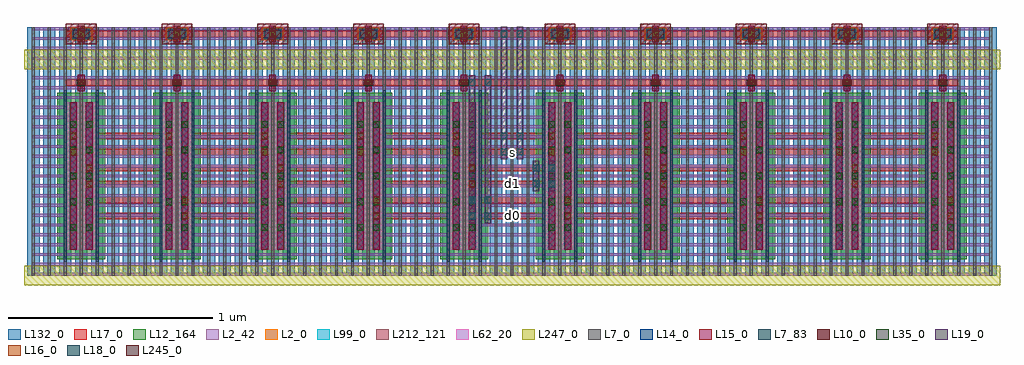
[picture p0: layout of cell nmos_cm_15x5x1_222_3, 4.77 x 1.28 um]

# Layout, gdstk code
import gdstk
lib = gdstk.Library(unit=1e-6, precision=1e-12)
def R(c, l, rs):  # rectangles x0, y0, x1, y1
    for r in rs: c.add(gdstk.rectangle(r[:2], r[2:], *l))
def A(c, l, x, y, w, h, nx, ny, dx, dy):  # array of equal rectangles
    R(c, l, [(x+i*dx, y+j*dy, x+i*dx+w, y+j*dy+h) for i in range(nx) for j in range(ny)])
L2_0 = (2, 0)
L2_42 = (2, 42)
L7_0 = (7, 0)
L7_83 = (7, 83)
L10_0 = (10, 0)
L12_164 = (12, 164)
L14_0 = (14, 0)
L15_0 = (15, 0)
L16_0 = (16, 0)
L17_0 = (17, 0)
L18_0 = (18, 0)
L19_0 = (19, 0)
L35_0 = (35, 0)
L62_20 = (62, 20)
L99_0 = (99, 0)
L132_0 = (132, 0)
L212_121 = (212, 121)
L245_0 = (245, 0)
L247_0 = (247, 0)

nmos_cm_15x5x1_222_3 = lib.new_cell('nmos_cm_15x5x1_222_3')
A(nmos_cm_15x5x1_222_3, L2_0, 0.186, 0.127, 0.156, 0.72, 10, 1, 0.468, 0)
A(nmos_cm_15x5x1_222_3, L2_0, 0.209, 1.151, 0.11, 0.06, 10, 1, 0.468, 0)
A(nmos_cm_15x5x1_222_3, L2_42, 0.023, 0, 4.68, 0.014, 1, 26, 0, 0.048)
A(nmos_cm_15x5x1_222_3, L7_0, 0.023, 0, 0.014, 1.214, 61, 1, 0.078, 0)
R(nmos_cm_15x5x1_222_3, L7_83, [(0.179,0.067,0.193,0.907), (0.335,0.067,0.349,0.907), (0.647,0.067,0.661,0.907), (0.803,0.067,0.817,0.907), (1.115,0.067,1.129,0.907), (1.271,0.067,1.285,0.907), (1.583,0.067,1.597,0.907), (1.739,0.067,1.753,0.907), (2.051,0.067,2.065,0.907), (2.207,0.067,2.221,0.907), (2.519,0.067,2.533,0.907), (2.675,0.067,2.689,0.907), (2.987,0.067,3.001,0.907), (3.143,0.067,3.157,0.907), (3.455,0.067,3.469,0.907), (3.611,0.067,3.625,0.907), (3.923,0.067,3.937,0.907), (4.079,0.067,4.093,0.907), (4.391,0.067,4.405,0.907), (4.547,0.067,4.561,0.907)])
A(nmos_cm_15x5x1_222_3, L10_0, 0.189, 1.131, 0.15, 0.1, 10, 1, 0.468, 0)
A(nmos_cm_15x5x1_222_3, L12_164, 0.147, 0.079, 0.234, 0.816, 10, 1, 0.468, 0)
A(nmos_cm_15x5x1_222_3, L14_0, 0.224, 1.161, 0.08, 0.04, 10, 1, 0.468, 0)
R(nmos_cm_15x5x1_222_3, L14_0, [(0.208,0.127,0.242,0.847), (0.286,0.127,0.32,0.847), (0.676,0.127,0.71,0.847), (0.754,0.127,0.788,0.847), (1.144,0.127,1.178,0.847), (1.222,0.127,1.256,0.847), (1.612,0.127,1.646,0.847), (1.69,0.127,1.724,0.847), (2.08,0.127,2.114,0.847), (2.158,0.127,2.192,0.847), (2.548,0.127,2.582,0.847), (2.626,0.127,2.66,0.847), (3.016,0.127,3.05,0.847), (3.094,0.127,3.128,0.847), (3.484,0.127,3.518,0.847), (3.562,0.127,3.596,0.847), (3.952,0.127,3.986,0.847), (4.03,0.127,4.064,0.847), (4.42,0.127,4.454,0.847), (4.498,0.127,4.532,0.847)])
A(nmos_cm_15x5x1_222_3, L15_0, 0.248, 0.902, 0.032, 0.08, 10, 2, 0.468, 0.239)
R(nmos_cm_15x5x1_222_3, L15_0, [(0.209,0.127,0.241,0.847), (0.287,0.127,0.319,0.847), (0.677,0.127,0.709,0.847), (0.755,0.127,0.787,0.847), (1.145,0.127,1.177,0.847), (1.223,0.127,1.255,0.847), (1.613,0.127,1.645,0.847), (1.691,0.127,1.723,0.847), (2.081,0.127,2.113,0.847), (2.159,0.127,2.191,0.847), (2.549,0.127,2.581,0.847), (2.627,0.127,2.659,0.847), (3.017,0.127,3.049,0.847), (3.095,0.127,3.127,0.847), (3.485,0.127,3.517,0.847), (3.563,0.127,3.595,0.847), (3.953,0.127,3.985,0.847), (4.031,0.127,4.063,0.847), (4.421,0.127,4.453,0.847), (4.499,0.127,4.531,0.847)])
A(nmos_cm_15x5x1_222_3, L16_0, 0.755, 0.276, 0.032, 0.032, 5, 2, 0.936, 0.078)
A(nmos_cm_15x5x1_222_3, L16_0, 0.287, 0.432, 0.032, 0.032, 5, 2, 0.936, 0.078)
A(nmos_cm_15x5x1_222_3, L16_0, 0.209, 0.588, 0.032, 0.032, 10, 2, 0.468, 0.078)
A(nmos_cm_15x5x1_222_3, L16_0, 0.248, 0.927, 0.032, 0.032, 10, 2, 0.468, 0.238)
A(nmos_cm_15x5x1_222_3, L17_0, 0.189, 0.276, 0.15, 0.032, 10, 6, 0.468, 0.078)
A(nmos_cm_15x5x1_222_3, L17_0, 0.329, 0.276, 0.338, 0.032, 1, 6, 0, 0.078)
A(nmos_cm_15x5x1_222_3, L17_0, 0.189, 0.927, 0.15, 0.032, 10, 2, 0.468, 0.238)
R(nmos_cm_15x5x1_222_3, L17_0, [(0.797,0.276,1.135,0.308), (0.797,0.276,1.135,0.308), (1.265,0.276,1.603,0.308), (1.265,0.276,1.603,0.308), (1.265,0.276,1.603,0.308), (1.733,0.276,2.071,0.308), (1.733,0.276,2.071,0.308), (1.733,0.276,2.071,0.308), (1.733,0.276,2.071,0.308), (2.201,0.276,2.539,0.308), (2.201,0.276,2.539,0.308), (2.201,0.276,2.539,0.308), (2.201,0.276,2.539,0.308), (2.201,0.276,2.539,0.308), (2.669,0.276,3.007,0.308), (2.669,0.276,3.007,0.308), (2.669,0.276,3.007,0.308), (2.669,0.276,3.007,0.308), (2.669,0.276,3.007,0.308), (2.669,0.276,3.007,0.308), (3.137,0.276,3.475,0.308), (3.137,0.276,3.475,0.308), (3.137,0.276,3.475,0.308), (3.137,0.276,3.475,0.308), (3.137,0.276,3.475,0.308), (3.137,0.276,3.475,0.308), (3.137,0.276,3.475,0.308), (3.605,0.276,3.943,0.308), (3.605,0.276,3.943,0.308), (3.605,0.276,3.943,0.308), (3.605,0.276,3.943,0.308), (3.605,0.276,3.943,0.308), (3.605,0.276,3.943,0.308), (3.605,0.276,3.943,0.308), (3.605,0.276,3.943,0.308), (4.073,0.276,4.411,0.308), (4.073,0.276,4.411,0.308), (4.073,0.276,4.411,0.308), (4.073,0.276,4.411,0.308), (4.073,0.276,4.411,0.308), (4.073,0.276,4.411,0.308), (4.073,0.276,4.411,0.308), (4.073,0.276,4.411,0.308), (4.073,0.276,4.411,0.308), (0.797,0.354,1.135,0.386), (0.797,0.354,1.135,0.386), (1.265,0.354,1.603,0.386), (1.265,0.354,1.603,0.386), (1.265,0.354,1.603,0.386), (1.733,0.354,2.071,0.386), (1.733,0.354,2.071,0.386), (1.733,0.354,2.071,0.386), (1.733,0.354,2.071,0.386), (2.201,0.354,2.539,0.386), (2.201,0.354,2.539,0.386), (2.201,0.354,2.539,0.386), (2.201,0.354,2.539,0.386), (2.201,0.354,2.539,0.386), (2.669,0.354,3.007,0.386), (2.669,0.354,3.007,0.386), (2.669,0.354,3.007,0.386), (2.669,0.354,3.007,0.386), (2.669,0.354,3.007,0.386), (2.669,0.354,3.007,0.386), (3.137,0.354,3.475,0.386), (3.137,0.354,3.475,0.386), (3.137,0.354,3.475,0.386), (3.137,0.354,3.475,0.386), (3.137,0.354,3.475,0.386), (3.137,0.354,3.475,0.386), (3.137,0.354,3.475,0.386), (3.605,0.354,3.943,0.386), (3.605,0.354,3.943,0.386), (3.605,0.354,3.943,0.386), (3.605,0.354,3.943,0.386), (3.605,0.354,3.943,0.386), (3.605,0.354,3.943,0.386), (3.605,0.354,3.943,0.386), (3.605,0.354,3.943,0.386), (4.073,0.354,4.411,0.386), (4.073,0.354,4.411,0.386), (4.073,0.354,4.411,0.386), (4.073,0.354,4.411,0.386), (4.073,0.354,4.411,0.386), (4.073,0.354,4.411,0.386), (4.073,0.354,4.411,0.386), (4.073,0.354,4.411,0.386), (4.073,0.354,4.411,0.386), (0.797,0.432,1.135,0.464), (0.797,0.432,1.135,0.464), (1.265,0.432,1.603,0.464), (1.265,0.432,1.603,0.464), (1.265,0.432,1.603,0.464), (1.733,0.432,2.071,0.464), (1.733,0.432,2.071,0.464), (1.733,0.432,2.071,0.464), (1.733,0.432,2.071,0.464), (2.201,0.432,2.539,0.464), (2.201,0.432,2.539,0.464), (2.201,0.432,2.539,0.464), (2.201,0.432,2.539,0.464), (2.201,0.432,2.539,0.464), (2.669,0.432,3.007,0.464), (2.669,0.432,3.007,0.464), (2.669,0.432,3.007,0.464), (2.669,0.432,3.007,0.464), (2.669,0.432,3.007,0.464), (2.669,0.432,3.007,0.464), (3.137,0.432,3.475,0.464), (3.137,0.432,3.475,0.464), (3.137,0.432,3.475,0.464), (3.137,0.432,3.475,0.464), (3.137,0.432,3.475,0.464), (3.137,0.432,3.475,0.464), (3.137,0.432,3.475,0.464), (3.605,0.432,3.943,0.464), (3.605,0.432,3.943,0.464), (3.605,0.432,3.943,0.464), (3.605,0.432,3.943,0.464), (3.605,0.432,3.943,0.464), (3.605,0.432,3.943,0.464), (3.605,0.432,3.943,0.464), (3.605,0.432,3.943,0.464), (4.073,0.432,4.411,0.464), (4.073,0.432,4.411,0.464), (4.073,0.432,4.411,0.464), (4.073,0.432,4.411,0.464), (4.073,0.432,4.411,0.464), (4.073,0.432,4.411,0.464), (4.073,0.432,4.411,0.464), (4.073,0.432,4.411,0.464), (4.073,0.432,4.411,0.464), (0.797,0.51,1.135,0.542), (0.797,0.51,1.135,0.542), (1.265,0.51,1.603,0.542), (1.265,0.51,1.603,0.542), (1.265,0.51,1.603,0.542), (1.733,0.51,2.071,0.542), (1.733,0.51,2.071,0.542), (1.733,0.51,2.071,0.542), (1.733,0.51,2.071,0.542), (2.201,0.51,2.539,0.542), (2.201,0.51,2.539,0.542), (2.201,0.51,2.539,0.542), (2.201,0.51,2.539,0.542), (2.201,0.51,2.539,0.542), (2.669,0.51,3.007,0.542), (2.669,0.51,3.007,0.542), (2.669,0.51,3.007,0.542), (2.669,0.51,3.007,0.542), (2.669,0.51,3.007,0.542), (2.669,0.51,3.007,0.542), (3.137,0.51,3.475,0.542), (3.137,0.51,3.475,0.542), (3.137,0.51,3.475,0.542), (3.137,0.51,3.475,0.542), (3.137,0.51,3.475,0.542), (3.137,0.51,3.475,0.542), (3.137,0.51,3.475,0.542), (3.605,0.51,3.943,0.542), (3.605,0.51,3.943,0.542), (3.605,0.51,3.943,0.542), (3.605,0.51,3.943,0.542), (3.605,0.51,3.943,0.542), (3.605,0.51,3.943,0.542), (3.605,0.51,3.943,0.542), (3.605,0.51,3.943,0.542), (4.073,0.51,4.411,0.542), (4.073,0.51,4.411,0.542), (4.073,0.51,4.411,0.542), (4.073,0.51,4.411,0.542), (4.073,0.51,4.411,0.542), (4.073,0.51,4.411,0.542), (4.073,0.51,4.411,0.542), (4.073,0.51,4.411,0.542), (4.073,0.51,4.411,0.542), (0.797,0.588,1.135,0.62), (0.797,0.588,1.135,0.62), (1.265,0.588,1.603,0.62), (1.265,0.588,1.603,0.62), (1.265,0.588,1.603,0.62), (1.733,0.588,2.071,0.62), (1.733,0.588,2.071,0.62), (1.733,0.588,2.071,0.62), (1.733,0.588,2.071,0.62), (2.201,0.588,2.539,0.62), (2.201,0.588,2.539,0.62), (2.201,0.588,2.539,0.62), (2.201,0.588,2.539,0.62), (2.201,0.588,2.539,0.62), (2.669,0.588,3.007,0.62), (2.669,0.588,3.007,0.62), (2.669,0.588,3.007,0.62), (2.669,0.588,3.007,0.62), (2.669,0.588,3.007,0.62), (2.669,0.588,3.007,0.62), (3.137,0.588,3.475,0.62), (3.137,0.588,3.475,0.62), (3.137,0.588,3.475,0.62), (3.137,0.588,3.475,0.62), (3.137,0.588,3.475,0.62), (3.137,0.588,3.475,0.62), (3.137,0.588,3.475,0.62), (3.605,0.588,3.943,0.62), (3.605,0.588,3.943,0.62), (3.605,0.588,3.943,0.62), (3.605,0.588,3.943,0.62), (3.605,0.588,3.943,0.62), (3.605,0.588,3.943,0.62), (3.605,0.588,3.943,0.62), (3.605,0.588,3.943,0.62), (4.073,0.588,4.411,0.62), (4.073,0.588,4.411,0.62), (4.073,0.588,4.411,0.62), (4.073,0.588,4.411,0.62), (4.073,0.588,4.411,0.62), (4.073,0.588,4.411,0.62), (4.073,0.588,4.411,0.62), (4.073,0.588,4.411,0.62), (4.073,0.588,4.411,0.62), (0.797,0.666,1.135,0.698), (0.797,0.666,1.135,0.698), (1.265,0.666,1.603,0.698), (1.265,0.666,1.603,0.698), (1.265,0.666,1.603,0.698), (1.733,0.666,2.071,0.698), (1.733,0.666,2.071,0.698), (1.733,0.666,2.071,0.698), (1.733,0.666,2.071,0.698), (2.201,0.666,2.539,0.698), (2.201,0.666,2.539,0.698), (2.201,0.666,2.539,0.698), (2.201,0.666,2.539,0.698), (2.201,0.666,2.539,0.698), (2.669,0.666,3.007,0.698), (2.669,0.666,3.007,0.698), (2.669,0.666,3.007,0.698), (2.669,0.666,3.007,0.698), (2.669,0.666,3.007,0.698), (2.669,0.666,3.007,0.698), (3.137,0.666,3.475,0.698), (3.137,0.666,3.475,0.698), (3.137,0.666,3.475,0.698), (3.137,0.666,3.475,0.698), (3.137,0.666,3.475,0.698), (3.137,0.666,3.475,0.698), (3.137,0.666,3.475,0.698), (3.605,0.666,3.943,0.698), (3.605,0.666,3.943,0.698), (3.605,0.666,3.943,0.698), (3.605,0.666,3.943,0.698), (3.605,0.666,3.943,0.698), (3.605,0.666,3.943,0.698), (3.605,0.666,3.943,0.698), (3.605,0.666,3.943,0.698), (4.073,0.666,4.411,0.698), (4.073,0.666,4.411,0.698), (4.073,0.666,4.411,0.698), (4.073,0.666,4.411,0.698), (4.073,0.666,4.411,0.698), (4.073,0.666,4.411,0.698), (4.073,0.666,4.411,0.698), (4.073,0.666,4.411,0.698), (4.073,0.666,4.411,0.698), (0.329,0.927,0.667,0.959), (0.797,0.927,1.135,0.959), (0.797,0.927,1.135,0.959), (1.265,0.927,1.603,0.959), (1.265,0.927,1.603,0.959), (1.265,0.927,1.603,0.959), (1.733,0.927,2.071,0.959), (1.733,0.927,2.071,0.959), (1.733,0.927,2.071,0.959), (1.733,0.927,2.071,0.959), (2.201,0.927,2.539,0.959), (2.201,0.927,2.539,0.959), (2.201,0.927,2.539,0.959), (2.201,0.927,2.539,0.959), (2.201,0.927,2.539,0.959), (2.669,0.927,3.007,0.959), (2.669,0.927,3.007,0.959), (2.669,0.927,3.007,0.959), (2.669,0.927,3.007,0.959), (2.669,0.927,3.007,0.959), (2.669,0.927,3.007,0.959), (3.137,0.927,3.475,0.959), (3.137,0.927,3.475,0.959), (3.137,0.927,3.475,0.959), (3.137,0.927,3.475,0.959), (3.137,0.927,3.475,0.959), (3.137,0.927,3.475,0.959), (3.137,0.927,3.475,0.959), (3.605,0.927,3.943,0.959), (3.605,0.927,3.943,0.959), (3.605,0.927,3.943,0.959), (3.605,0.927,3.943,0.959), (3.605,0.927,3.943,0.959), (3.605,0.927,3.943,0.959), (3.605,0.927,3.943,0.959), (3.605,0.927,3.943,0.959), (4.073,0.927,4.411,0.959), (4.073,0.927,4.411,0.959), (4.073,0.927,4.411,0.959), (4.073,0.927,4.411,0.959), (4.073,0.927,4.411,0.959), (4.073,0.927,4.411,0.959), (4.073,0.927,4.411,0.959), (4.073,0.927,4.411,0.959), (4.073,0.927,4.411,0.959), (0.329,1.165,0.667,1.197), (0.797,1.165,1.135,1.197), (0.797,1.165,1.135,1.197), (1.265,1.165,1.603,1.197), (1.265,1.165,1.603,1.197), (1.265,1.165,1.603,1.197), (1.733,1.165,2.071,1.197), (1.733,1.165,2.071,1.197), (1.733,1.165,2.071,1.197), (1.733,1.165,2.071,1.197), (2.201,1.165,2.539,1.197), (2.201,1.165,2.539,1.197), (2.201,1.165,2.539,1.197), (2.201,1.165,2.539,1.197), (2.201,1.165,2.539,1.197), (2.669,1.165,3.007,1.197), (2.669,1.165,3.007,1.197), (2.669,1.165,3.007,1.197), (2.669,1.165,3.007,1.197), (2.669,1.165,3.007,1.197), (2.669,1.165,3.007,1.197), (3.137,1.165,3.475,1.197), (3.137,1.165,3.475,1.197), (3.137,1.165,3.475,1.197), (3.137,1.165,3.475,1.197), (3.137,1.165,3.475,1.197), (3.137,1.165,3.475,1.197), (3.137,1.165,3.475,1.197), (3.605,1.165,3.943,1.197), (3.605,1.165,3.943,1.197), (3.605,1.165,3.943,1.197), (3.605,1.165,3.943,1.197), (3.605,1.165,3.943,1.197), (3.605,1.165,3.943,1.197), (3.605,1.165,3.943,1.197), (3.605,1.165,3.943,1.197), (4.073,1.165,4.411,1.197), (4.073,1.165,4.411,1.197), (4.073,1.165,4.411,1.197), (4.073,1.165,4.411,1.197), (4.073,1.165,4.411,1.197), (4.073,1.165,4.411,1.197), (4.073,1.165,4.411,1.197), (4.073,1.165,4.411,1.197), (4.073,1.165,4.411,1.197)])
R(nmos_cm_15x5x1_222_3, L18_0, [(2.159,0.276,2.191,0.308), (2.237,0.276,2.269,0.308), (2.237,0.276,2.269,0.308), (2.159,0.354,2.191,0.386), (2.237,0.354,2.269,0.386), (2.237,0.354,2.269,0.386), (2.471,0.432,2.503,0.464), (2.471,0.432,2.503,0.464), (2.549,0.432,2.581,0.464), (2.471,0.51,2.503,0.542), (2.471,0.51,2.503,0.542), (2.549,0.51,2.581,0.542), (2.315,0.588,2.347,0.62), (2.315,0.588,2.347,0.62), (2.393,0.588,2.425,0.62), (2.393,0.588,2.425,0.62), (2.315,0.666,2.347,0.698), (2.315,0.666,2.347,0.698), (2.393,0.666,2.425,0.698), (2.393,0.666,2.425,0.698), (2.159,0.927,2.191,0.959), (2.237,0.927,2.269,0.959), (2.237,0.927,2.269,0.959), (2.315,1.165,2.347,1.197), (2.315,1.165,2.347,1.197), (2.393,1.165,2.425,1.197), (2.393,1.165,2.425,1.197)])
R(nmos_cm_15x5x1_222_3, L19_0, [(2.159,0.256,2.191,0.979), (2.237,0.256,2.269,0.979), (2.471,0.412,2.503,0.562), (2.549,0.412,2.581,0.562), (2.315,0.568,2.347,1.217), (2.393,0.568,2.425,1.217)])
A(nmos_cm_15x5x1_222_3, L35_0, 0.209, 0.219, 0.032, 0.032, 1, 5, 0, 0.126)
A(nmos_cm_15x5x1_222_3, L35_0, 0.287, 0.219, 0.032, 0.032, 1, 5, 0, 0.126)
A(nmos_cm_15x5x1_222_3, L35_0, 0.677, 0.219, 0.032, 0.032, 1, 5, 0, 0.126)
A(nmos_cm_15x5x1_222_3, L35_0, 0.755, 0.219, 0.032, 0.032, 1, 5, 0, 0.126)
A(nmos_cm_15x5x1_222_3, L35_0, 1.145, 0.219, 0.032, 0.032, 1, 5, 0, 0.126)
A(nmos_cm_15x5x1_222_3, L35_0, 1.223, 0.219, 0.032, 0.032, 1, 5, 0, 0.126)
A(nmos_cm_15x5x1_222_3, L35_0, 1.613, 0.219, 0.032, 0.032, 1, 5, 0, 0.126)
A(nmos_cm_15x5x1_222_3, L35_0, 1.691, 0.219, 0.032, 0.032, 1, 5, 0, 0.126)
A(nmos_cm_15x5x1_222_3, L35_0, 2.081, 0.219, 0.032, 0.032, 1, 5, 0, 0.126)
A(nmos_cm_15x5x1_222_3, L35_0, 2.159, 0.219, 0.032, 0.032, 1, 5, 0, 0.126)
A(nmos_cm_15x5x1_222_3, L35_0, 2.549, 0.219, 0.032, 0.032, 1, 5, 0, 0.126)
A(nmos_cm_15x5x1_222_3, L35_0, 2.627, 0.219, 0.032, 0.032, 1, 5, 0, 0.126)
A(nmos_cm_15x5x1_222_3, L35_0, 3.017, 0.219, 0.032, 0.032, 1, 5, 0, 0.126)
A(nmos_cm_15x5x1_222_3, L35_0, 3.095, 0.219, 0.032, 0.032, 1, 5, 0, 0.126)
A(nmos_cm_15x5x1_222_3, L35_0, 3.485, 0.219, 0.032, 0.032, 1, 5, 0, 0.126)
A(nmos_cm_15x5x1_222_3, L35_0, 3.563, 0.219, 0.032, 0.032, 1, 5, 0, 0.126)
A(nmos_cm_15x5x1_222_3, L35_0, 3.953, 0.219, 0.032, 0.032, 1, 5, 0, 0.126)
A(nmos_cm_15x5x1_222_3, L35_0, 4.031, 0.219, 0.032, 0.032, 1, 5, 0, 0.126)
A(nmos_cm_15x5x1_222_3, L35_0, 4.421, 0.219, 0.032, 0.032, 1, 5, 0, 0.126)
A(nmos_cm_15x5x1_222_3, L35_0, 4.499, 0.219, 0.032, 0.032, 1, 5, 0, 0.126)
A(nmos_cm_15x5x1_222_3, L35_0, 0.248, 0.926, 0.032, 0.032, 10, 2, 0.468, 0.239)
A(nmos_cm_15x5x1_222_3, L62_20, 0.186, 0.127, 0.156, 0.72, 10, 1, 0.468, 0)
A(nmos_cm_15x5x1_222_3, L99_0, 0.186, 0.127, 0.156, 0.72, 10, 1, 0.468, 0)
A(nmos_cm_15x5x1_222_3, L99_0, 0.219, 1.156, 0.09, 0.05, 10, 1, 0.468, 0)
A(nmos_cm_15x5x1_222_3, L132_0, 0, 0, 0.06, 1.214, 61, 1, 0.078, 0)
A(nmos_cm_15x5x1_222_3, L212_121, 0.186, 0.127, 0.156, 0.72, 10, 1, 0.468, 0)
A(nmos_cm_15x5x1_222_3, L245_0, 0.241, 0.927, 0.046, 0.03, 10, 1, 0.468, 0)
A(nmos_cm_15x5x1_222_3, L247_0, -0.016, -0.047, 0.56, 0.094, 10, 2, 0.468, 1.056)
nmos_cm_15x5x1_222_3.add(gdstk.Label('s', (2.37,0.604), layer=16, texttype=20))
nmos_cm_15x5x1_222_3.add(gdstk.Label('d1', (2.37,0.448), layer=16, texttype=20))
nmos_cm_15x5x1_222_3.add(gdstk.Label('d0', (2.37,0.292), layer=16, texttype=20))

lib.write_gds('nmos_cm_15x5x1_222_3.gds')
